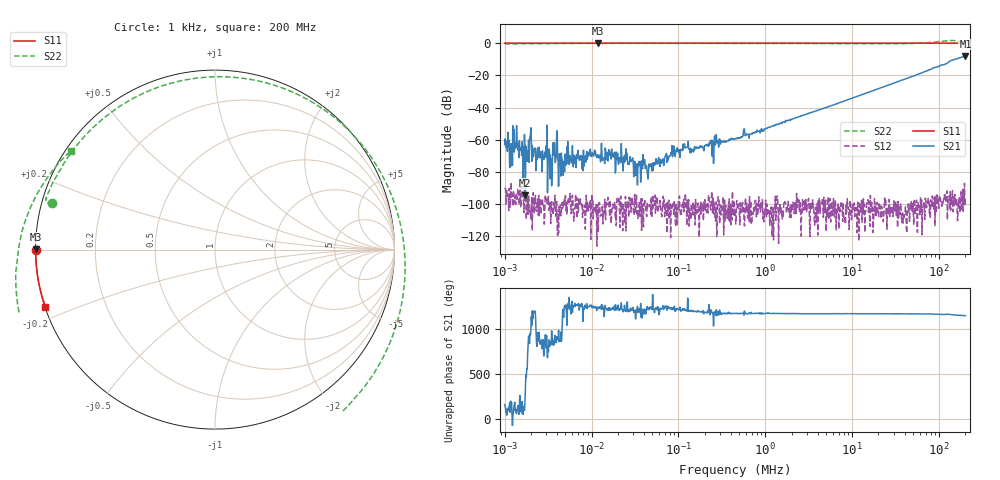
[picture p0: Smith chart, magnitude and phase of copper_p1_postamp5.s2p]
! ListType=Log
# MHZ S RI R 50
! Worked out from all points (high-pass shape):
!   1000 points, 1 kHz to 200 MHz, reference 50 ohm
!   highest |S21| = -8.01 dB at 200 MHz (marker M1); lowest = -94.4 dB at 1.733 kHz (marker M2)
!   |S21| within 3 dB of the highest: 134.7 MHz to end of sweep
!   lowest |S11| = 0.0 dB at 11.95 kHz (marker M3), VSWR 420.55, Z = 0.119 + j0.0396 ohm
!   |S11| at or under -10 dB: nowhere
!   |S22| runs from -0.5 to 1.7 dB; largest |S21 - S12| = 0.4
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0.001  -0.9975 -0.000724  -0.000684 0.000182  -1.15e-05 -2.99e-05  -0.9089 0.26
0.0011579  -0.998 -0.000266  5.98e-05 0.0003  -8e-06 1.1e-06  -0.9121 0.2579
0.0013245  -0.9969 -0.00016  -0.000107 0.00076  1.81e-05 -1.6e-06  -0.9155 0.258
0.0017329  -0.9976 -0.000247  1.36e-05 -1.33e-05  -3.1e-06 1.34e-05  -0.9221 0.2574
0.0019582  -0.9976 -0.000543  -0.000844 -0.000915  1.8e-06 -5.1e-06  -0.9248 0.258
0.0030774  -0.9979 -0.000401  0.00221 0.00182  -9.7e-06 -4.5e-06  -0.9345 0.263
0.0033115  -0.9975 -0.000267  4.1e-06 6.15e-05  8.4e-06 -6e-07  -0.9357 0.264
0.0037878  -0.9978 -0.000299  -0.000255 -0.000125  9e-07 -1.91e-05  -0.9375 0.266
0.0044399  -0.9977 -9.06e-05  -3.37e-05 -6.68e-05  7e-07 -4.3e-06  -0.9393 0.2685
0.0076941  -0.9979 -8.35e-05  -0.000294 -0.000109  -2.1e-06 8.4e-06  -0.9422 0.2759
0.011945  -0.9953 0.00157  -0.000276 0.000177  -1.2e-06 6e-07  -0.9435 0.2782
0.0325316  -0.9979 -5.13e-05  -6.86e-05 9.07e-05  3e-06 -1.59e-05  -0.9417 0.2858
0.0584804  -0.9979 -0.000211  -0.000109 0.000203  1.1e-06 -7.5e-06  -0.9406 0.2882
0.4499541  -0.9978 -0.000777  8e-06 0.00111  1.8e-06 7.1e-06  -0.9349 0.303
3.419952  -0.9982 -0.00573  0.000519 0.00708  -1.8e-06 -7.2e-06  -0.8867 0.4028
26.31347  -0.9979 -0.0431  0.00385 0.0502  3.6e-06 -3.5e-06  -0.3118 0.9064
50.9003  -0.9958 -0.0827  0.00944 0.0947  -1e-07 -2.3e-06  0.4925 0.8486
81.97236  -0.9907 -0.1324  0.0207 0.1554  5.3e-06 -7.1e-06  1.057 -0.0223
103.3922  -0.9852 -0.1662  0.0339 0.1984  -9.6e-06 -1.12e-05  0.8402 -0.7545
128.8255  -0.9769 -0.2063  0.0472 0.2566  -1.25e-05 -1.01e-05  0.0311 -1.195
164.4859  -0.9631 -0.2621  0.1186 0.3127  4.6e-06 -3.3e-06  -1.028 -0.5582
200  -0.9472 -0.3172  0.1719 0.3588  -1.29e-05 -6.6e-06  -0.8026 0.5506
